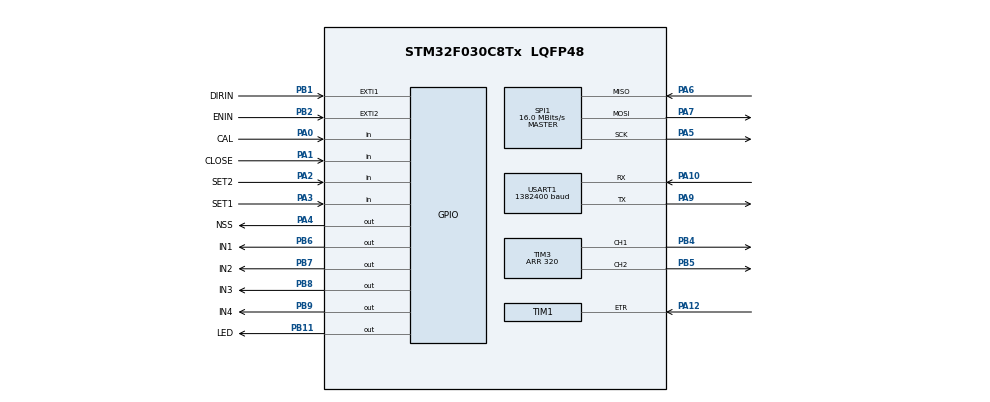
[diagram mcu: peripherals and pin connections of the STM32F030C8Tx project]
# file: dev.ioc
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Dma.Request0=USART1_RX
Dma.Request1=USART1_TX
Dma.USART1_RX.0.Direction=DMA_PERIPH_TO_MEMORY
Dma.USART1_RX.0.Instance=DMA1_Channel3
Dma.USART1_RX.0.MemDataAlignment=DMA_MDATAALIGN_BYTE
Dma.USART1_RX.0.MemInc=DMA_MINC_ENABLE
Dma.USART1_RX.0.Mode=DMA_NORMAL
Dma.USART1_RX.0.PeriphDataAlignment=DMA_PDATAALIGN_BYTE
Dma.USART1_RX.0.PeriphInc=DMA_PINC_DISABLE
Dma.USART1_RX.0.Priority=DMA_PRIORITY_LOW
Dma.USART1_TX.1.Direction=DMA_MEMORY_TO_PERIPH
Dma.USART1_TX.1.Instance=DMA1_Channel2
Dma.USART1_TX.1.MemDataAlignment=DMA_MDATAALIGN_BYTE
Dma.USART1_TX.1.MemInc=DMA_MINC_ENABLE
Dma.USART1_TX.1.Mode=DMA_NORMAL
Dma.USART1_TX.1.PeriphDataAlignment=DMA_PDATAALIGN_BYTE
Dma.USART1_TX.1.PeriphInc=DMA_PINC_DISABLE
Dma.USART1_TX.1.Priority=DMA_PRIORITY_LOW
IWDG.Reload=500
Mcu.Family=STM32F0
Mcu.Name=STM32F030C8Tx
Mcu.Package=LQFP48
NVIC.DMA1_Channel2_3_IRQn=true\:0\:0\:false\:false\:true\:false\:true
NVIC.EXTI0_1_IRQn=true\:0\:0\:false\:false\:true\:true\:true
NVIC.EXTI2_3_IRQn=true\:1\:0\:true\:false\:true\:true\:true
NVIC.TIM6_IRQn=true\:1\:0\:true\:false\:true\:true\:true
NVIC.USART1_IRQn=true\:0\:0\:false\:false\:true\:true\:true
PA0.GPIO_Label=CAL
PA0.GPIO_PuPd=GPIO_PULLUP
PA0.Signal=GPIO_Input
PA1.GPIO_Label=CLOSE
PA1.GPIO_PuPd=GPIO_PULLUP
PA1.Signal=GPIO_Input
PA10.Mode=Asynchronous
PA10.Signal=USART1_RX
PA12.GPIO_Speed=GPIO_SPEED_FREQ_HIGH
PA12.Signal=S_TIM1_ETR
PA13.Mode=Serial_Wire
PA13.Signal=SYS_SWDIO
PA14.Mode=Serial_Wire
PA14.Signal=SYS_SWCLK
PA2.GPIO_Label=SET2
PA2.GPIO_PuPd=GPIO_PULLUP
PA2.Signal=GPIO_Input
PA3.GPIO_Label=SET1
PA3.GPIO_PuPd=GPIO_PULLUP
PA3.Signal=GPIO_Input
PA4.GPIO_Label=NSS
PA4.GPIO_Speed=GPIO_SPEED_FREQ_HIGH
PA4.PinState=GPIO_PIN_SET
PA4.Signal=GPIO_Output
PA5.Mode=Full_Duplex_Master
PA5.Signal=SPI1_SCK
PA6.Mode=Full_Duplex_Master
PA6.Signal=SPI1_MISO
PA7.Mode=Full_Duplex_Master
PA7.Signal=SPI1_MOSI
PA9.Mode=Asynchronous
PA9.Signal=USART1_TX
PB1.GPIO_Label=DIRIN
PB1.GPIO_ModeDefaultEXTI=GPIO_MODE_IT_RISING_FALLING
PB1.Signal=GPXTI1
PB11.GPIO_Label=LED
PB11.GPIO_Speed=GPIO_SPEED_FREQ_HIGH
PB11.Signal=GPIO_Output
PB2.GPIO_Label=ENIN
PB2.GPIO_ModeDefaultEXTI=GPIO_MODE_IT_RISING_FALLING
PB2.GPIO_PuPd=GPIO_PULLUP
PB2.Signal=GPXTI2
PB4.GPIO_Speed=GPIO_SPEED_FREQ_HIGH
PB4.Signal=S_TIM3_CH1
PB5.GPIO_Speed=GPIO_SPEED_FREQ_HIGH
PB5.Signal=S_TIM3_CH2
PB6.GPIO_FM6=SYSCFG_CFGR1_I2C_FMP_PB6
PB6.GPIO_Label=IN1
PB6.GPIO_Speed=GPIO_SPEED_FREQ_HIGH
PB6.Signal=GPIO_Output
PB7.GPIO_FM7=SYSCFG_CFGR1_I2C_FMP_PB7
PB7.GPIO_Label=IN2
PB7.GPIO_Speed=GPIO_SPEED_FREQ_HIGH
PB7.Signal=GPIO_Output
PB8.GPIO_FM8=SYSCFG_CFGR1_I2C_FMP_PB8
PB8.GPIO_Label=IN3
PB8.GPIO_Speed=GPIO_SPEED_FREQ_HIGH
PB8.Signal=GPIO_Output
PB9.GPIO_FM9=SYSCFG_CFGR1_I2C_FMP_PB9
PB9.GPIO_Label=IN4
PB9.GPIO_Speed=GPIO_SPEED_FREQ_HIGH
PB9.Signal=GPIO_Output
ProjectManager.HeapSize=0x200
ProjectManager.StackSize=0x400
ProjectManager.TargetToolchain=MDK-ARM V5
RCC.AHBFreq_Value=64000000
RCC.APB1Freq_Value=64000000
RCC.APB1TimFreq_Value=64000000
RCC.HCLKFreq_Value=64000000
RCC.PLLMUL=RCC_PLL_MUL16
RCC.SYSCLKFreq_VALUE=64000000
RCC.SYSCLKSource=RCC_SYSCLKSOURCE_PLLCLK
SH.S_TIM1_ETR.0=TIM1_ETR,ClockSourceETR_Mode2
SH.S_TIM3_CH1.0=TIM3_CH1,PWM Generation1 CH1
SH.S_TIM3_CH2.0=TIM3_CH2,PWM Generation2 CH2
SPI1.BaudRatePrescaler=SPI_BAUDRATEPRESCALER_4
SPI1.CLKPhase=SPI_PHASE_2EDGE
SPI1.CLKPolarity=SPI_POLARITY_HIGH
SPI1.CalculateBaudRate=16.0 MBits/s
SPI1.DataSize=SPI_DATASIZE_16BIT
SPI1.Direction=SPI_DIRECTION_2LINES
SPI1.Mode=SPI_MODE_MASTER
SPI1.VirtualType=VM_MASTER
TIM1.ClockFilter=8
TIM1.Period=64999
TIM3.Channel-PWM\ Generation1\ CH1=TIM_CHANNEL_1
TIM3.Channel-PWM\ Generation2\ CH2=TIM_CHANNEL_2
TIM3.Period=320
TIM6.Period=3200
USART1.BaudRate=1382400
USART1.VirtualMode-Asynchronous=VM_ASYNC
VP_IWDG_VS_IWDG.Mode=IWDG_Activate
VP_TIM15_VS_ControllerModeClock.Mode=Clock Mode
VP_TIM3_VS_ClockSourceINT.Mode=Internal
VP_TIM6_VS_ClockSourceINT.Mode=Enable_Timer
board=ITEM

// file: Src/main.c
/* USER CODE BEGIN Header */
/**
  ******************************************************************************
  * @file           : main.c
  * @brief          : Main program body
  ******************************************************************************
  * @attention
  *
  * <h2><center>&copy; Copyright (c) 2021 STMicroelectronics.
  * All rights reserved.</center></h2>
  *
  * This software component is licensed by ST under BSD 3-Clause license,
  * the "License"; You may not use this file except in compliance with the
  * License. You may obtain a copy of the License at:
  *                        opensource.org/licenses/BSD-3-Clause
  *
  ******************************************************************************
  */
/* USER CODE END Header */
#include "main.h"

/* USER CODE BEGIN Includes */
#include <stdio.h>
#include "stm32f0xx_ll_usart.h"
#include "ringBuffer.h"

/* USER CODE END Includes */

TIM_HandleTypeDef htim1;

UART_HandleTypeDef huart1;
DMA_HandleTypeDef hdma_usart1_rx;
DMA_HandleTypeDef hdma_usart1_tx;

/* USER CODE BEGIN PV */
uint8_t RXBuffer[64];
int32_t s=0;//外部控制脉冲输入定时器的值
int32_t s_1=0;
int32_t s_sum=0;//外部控制脉冲输入累计值
int32_t r=0;//指令电机位置
int32_t r_1=0;
uint8_t dir=1;//电机旋转方向
int16_t y=0;//编码器的读数值
int16_t y_1=0;
int32_t yw=0;//实际电机位置值
int32_t yw_1=0;
int32_t advance=0;//电机控制提前角度
int32_t wrap_count=0;//电机旋转圈数
int32_t e=0;//误差值等于指令电机位置值减去实际电机位置值
int32_t iterm=0;//PID控制i积分项
int32_t dterm=0;//PID控制d微分项
int32_t u=0;//矢量控制电流大小
int32_t stepnumber=0;//电机走的整步步数
float stepangle=2.56f;//电子齿轮值

uint16_t hccount=0;//开环模式下半流控制计数值
uint8_t closemode;//开环闭环模式标志位
uint8_t enmode=1;//使能标志位

extern const int16_t sin_1[];
/* USER CODE END PV */

void SystemClock_Config(void);
static void MX_GPIO_Init(void);
static void MX_DMA_Init(void);
static void MX_SPI1_Init(void);
static void MX_TIM3_Init(void);
static void MX_TIM6_Init(void);
static void MX_IWDG_Init(void);
static void MX_TIM15_Init(void);
static void MX_USART1_UART_Init(void);
static void MX_TIM1_Init(void);
/* USER CODE BEGIN PFP */

void Output(int32_t theta,uint8_t effort);
int16_t Mod(int32_t xMod,int16_t mMod);
void OneStep(void);

/* USER CODE END PFP */

/* USER CODE BEGIN 0 */
//STDIO.H串口输出重载函数
int fputc(int c,FILE *stream)
{
  LL_USART_TransmitData8(USART1,c);
  while(!LL_USART_IsActiveFlag_TXE(USART1))__NOP();
  LL_USART_ClearFlag_TC(USART1);
  return c;
}
//读MT6816编码器的角度值
uint16_t ReadAngle()
{
  uint16_t data1,data2;
  NSS_L;
  while(LL_SPI_IsActiveFlag_TXE(SPI1)==0);
  LL_SPI_TransmitData16(SPI1,0x8355);
  while(LL_SPI_IsActiveFlag_RXNE(SPI1)==0);
  data1=LL_SPI_ReceiveData16(SPI1)&0x00FF;
  NSS_H;
  NSS_L;
  while(LL_SPI_IsActiveFlag_TXE(SPI1)==0);
  LL_SPI_TransmitData16(SPI1,0x84A0);
  while(LL_SPI_IsActiveFlag_RXNE(SPI1)==0);
  data2=LL_SPI_ReceiveData16(SPI1)&0x00FF;
  NSS_H;
  data1=(data1<<6)+(data2>>2);
  return data1;
}
void Output(int32_t theta,uint8_t effort)
{
  int16_t v_coil_A;
  int16_t v_coil_B;

  int16_t sin_coil_A;
  int16_t sin_coil_B;

  int16_t angle_1;
  int16_t angle_2;

  float phase_multiplier=12.5f;//电机跑一圈共50个电相位角/4

  angle_1=Mod(phase_multiplier*theta,4096);//编码器读出的机械角转换为电相位角
  angle_2=angle_1+1024;
  if(angle_2>4096)
    angle_2-=4096;

  sin_coil_A=sin_1[angle_1];
  sin_coil_B=sin_1[angle_2];

  v_coil_A=effort*sin_coil_A/1024;//电机A相的矢量分解电流
  v_coil_B=effort*sin_coil_B/1024;//电机B相的矢量分解电流

  if(v_coil_A>=0)
  {
    LL_TIM_OC_SetCompareCH2(TIM3,v_coil_A);
	IN1_HIGH;
    IN2_LOW;
  }
  else
  {
    LL_TIM_OC_SetCompareCH2(TIM3,-v_coil_A);
	IN1_LOW;
    IN2_HIGH;
  }
  if(v_coil_B>=0)
  {
    LL_TIM_OC_SetCompareCH1(TIM3,v_coil_B);
	IN3_HIGH;
    IN4_LOW;
  }
  else
  {
    LL_TIM_OC_SetCompareCH1(TIM3,-v_coil_B);
	IN3_LOW;
    IN4_HIGH;
  }
}
//电机走一整步1.8度函数
void OneStep(void)
{
  if(dir)
    stepnumber+=1;
  else
    stepnumber-=1;

  Output(81.92f*stepnumber,50);//如果校正时电机太大把80的设置电机加到120左右或者更大些
  LL_mDelay(10);
}
//求模函数
int16_t Mod(int32_t xMod,int16_t mMod)
{
  int16_t temp;
  temp=xMod%mMod;
  if(temp<0)
    return (temp+mMod);
  else
	return  temp;
}

void SetModeCheck(void)
{
  y=*(volatile uint16_t*)(ReadAngle()*2+0x08008000);
//  if(CAL==0)//校正拨码开关ON进入编码器芯片校正程序
//	CalibrateEncoder();

  if((SET1==1)&&(SET2==1))//电子齿轮设置
    stepangle=20.48f;//电机跑一圈需要的控制脉冲数为800
  else if((SET1==0)&&(SET2==1))
    stepangle=10.24f;//电机跑一圈需要的控制脉冲数为1600
  else if((SET1==1)&&(SET2==0))
    stepangle=5.12f;//电机跑一圈需要的控制脉冲数为3200
  else
    stepangle=2.56f;//电机跑一圈需要的控制脉冲数为6400

	if(CLOSE==0)
    closemode=1;
  else
	  closemode=0;

  if(DIRIN==1)
    LL_TIM_SetCounterMode(TIM1,LL_TIM_COUNTERMODE_UP);
  else
	LL_TIM_SetCounterMode(TIM1,LL_TIM_COUNTERMODE_DOWN);
}
/* USER CODE END 0 */

int main(void)
{

  /* MCU Configuration--------------------------------------------------------*/

  /* Reset of all peripherals, Initializes the Flash interface and the Systick. */
  HAL_Init();

  /* Configure the system clock */
  SystemClock_Config();

  /* Initialize all configured peripherals */
  MX_GPIO_Init();
  MX_DMA_Init();
  MX_SPI1_Init();
  MX_TIM3_Init();
  MX_TIM6_Init();
  MX_IWDG_Init();
  MX_TIM15_Init();
  MX_USART1_UART_Init();
  MX_TIM1_Init();

  /* Infinite loop */
  while (1)
  {

    /* USER CODE BEGIN 3 */
//		HAL_UART_Receive_DMA(&huart1, RXBuffer, 3);
		FlushBuffer();
  }
  /* USER CODE END 3 */
}

void SystemClock_Config(void)
{
  LL_FLASH_SetLatency(LL_FLASH_LATENCY_1);
  while(LL_FLASH_GetLatency() != LL_FLASH_LATENCY_1)
  {
  }
  LL_RCC_HSI_Enable();

   /* Wait till HSI is ready */
  while(LL_RCC_HSI_IsReady() != 1)
  {

  }
  LL_RCC_HSI_SetCalibTrimming(16);
  LL_RCC_LSI_Enable();

   /* Wait till LSI is ready */
  while(LL_RCC_LSI_IsReady() != 1)
  {

  }
  LL_RCC_PLL_ConfigDomain_SYS(LL_RCC_PLLSOURCE_HSI_DIV_2, LL_RCC_PLL_MUL_16);
  LL_RCC_PLL_Enable();

   /* Wait till PLL is ready */
  while(LL_RCC_PLL_IsReady() != 1)
  {

  }
  LL_RCC_SetAHBPrescaler(LL_RCC_SYSCLK_DIV_1);
  LL_RCC_SetAPB1Prescaler(LL_RCC_APB1_DIV_1);
  LL_RCC_SetSysClkSource(LL_RCC_SYS_CLKSOURCE_PLL);

   /* Wait till System clock is ready */
  while(LL_RCC_GetSysClkSource() != LL_RCC_SYS_CLKSOURCE_STATUS_PLL)
  {

  }
  LL_SetSystemCoreClock(64000000);

   /* Update the time base */
  if (HAL_InitTick (TICK_INT_PRIORITY) != HAL_OK)
  {
    Error_Handler();
  }
  LL_RCC_SetUSARTClockSource(LL_RCC_USART1_CLKSOURCE_PCLK1);
}

static void MX_IWDG_Init(void)
{

  LL_IWDG_Enable(IWDG);
  LL_IWDG_EnableWriteAccess(IWDG);
  LL_IWDG_SetPrescaler(IWDG, LL_IWDG_PRESCALER_4);
  LL_IWDG_SetReloadCounter(IWDG, 500);
  while (LL_IWDG_IsReady(IWDG) != 1)
  {
  }

  LL_IWDG_ReloadCounter(IWDG);

}

static void MX_SPI1_Init(void)
{

  LL_SPI_InitTypeDef SPI_InitStruct = {0};

  LL_GPIO_InitTypeDef GPIO_InitStruct = {0};

  /* Peripheral clock enable */
  LL_APB1_GRP2_EnableClock(LL_APB1_GRP2_PERIPH_SPI1);

  LL_AHB1_GRP1_EnableClock(LL_AHB1_GRP1_PERIPH_GPIOA);
  /**SPI1 GPIO Configuration
  PA5   ------> SPI1_SCK
  PA6   ------> SPI1_MISO
  PA7   ------> SPI1_MOSI
  */
  GPIO_InitStruct.Pin = LL_GPIO_PIN_5;
  GPIO_InitStruct.Mode = LL_GPIO_MODE_ALTERNATE;
  GPIO_InitStruct.Speed = LL_GPIO_SPEED_FREQ_HIGH;
  GPIO_InitStruct.OutputType = LL_GPIO_OUTPUT_PUSHPULL;
  GPIO_InitStruct.Pull = LL_GPIO_PULL_NO;
  GPIO_InitStruct.Alternate = LL_GPIO_AF_0;
  LL_GPIO_Init(GPIOA, &GPIO_InitStruct);

  GPIO_InitStruct.Pin = LL_GPIO_PIN_6;
  GPIO_InitStruct.Mode = LL_GPIO_MODE_ALTERNATE;
  GPIO_InitStruct.Speed = LL_GPIO_SPEED_FREQ_HIGH;
  GPIO_InitStruct.OutputType = LL_GPIO_OUTPUT_PUSHPULL;
  GPIO_InitStruct.Pull = LL_GPIO_PULL_NO;
  GPIO_InitStruct.Alternate = LL_GPIO_AF_0;
  LL_GPIO_Init(GPIOA, &GPIO_InitStruct);

  GPIO_InitStruct.Pin = LL_GPIO_PIN_7;
  GPIO_InitStruct.Mode = LL_GPIO_MODE_ALTERNATE;
  GPIO_InitStruct.Speed = LL_GPIO_SPEED_FREQ_HIGH;
  GPIO_InitStruct.OutputType = LL_GPIO_OUTPUT_PUSHPULL;
  GPIO_InitStruct.Pull = LL_GPIO_PULL_NO;
  GPIO_InitStruct.Alternate = LL_GPIO_AF_0;
  LL_GPIO_Init(GPIOA, &GPIO_InitStruct);

  /* SPI1 parameter configuration*/
  SPI_InitStruct.TransferDirection = LL_SPI_FULL_DUPLEX;
  SPI_InitStruct.Mode = LL_SPI_MODE_MASTER;
  SPI_InitStruct.DataWidth = LL_SPI_DATAWIDTH_16BIT;
  SPI_InitStruct.ClockPolarity = LL_SPI_POLARITY_HIGH;
  SPI_InitStruct.ClockPhase = LL_SPI_PHASE_2EDGE;
  SPI_InitStruct.NSS = LL_SPI_NSS_SOFT;
  SPI_InitStruct.BaudRate = LL_SPI_BAUDRATEPRESCALER_DIV4;
  SPI_InitStruct.BitOrder = LL_SPI_MSB_FIRST;
  SPI_InitStruct.CRCCalculation = LL_SPI_CRCCALCULATION_DISABLE;
  SPI_InitStruct.CRCPoly = 7;
  LL_SPI_Init(SPI1, &SPI_InitStruct);
  LL_SPI_SetStandard(SPI1, LL_SPI_PROTOCOL_MOTOROLA);
  LL_SPI_DisableNSSPulseMgt(SPI1);

}

static void MX_TIM1_Init(void)
{

  TIM_ClockConfigTypeDef sClockSourceConfig = {0};
  TIM_MasterConfigTypeDef sMasterConfig = {0};

  htim1.Instance = TIM1;
  htim1.Init.Prescaler = 0;
  htim1.Init.CounterMode = TIM_COUNTERMODE_UP;
  htim1.Init.Period = 64999;
  htim1.Init.ClockDivision = TIM_CLOCKDIVISION_DIV1;
  htim1.Init.RepetitionCounter = 0;
  htim1.Init.AutoReloadPreload = TIM_AUTORELOAD_PRELOAD_DISABLE;
  if (HAL_TIM_Base_Init(&htim1) != HAL_OK)
  {
    Error_Handler();
  }
  sClockSourceConfig.ClockSource = TIM_CLOCKSOURCE_ETRMODE2;
  sClockSourceConfig.ClockPolarity = TIM_CLOCKPOLARITY_NONINVERTED;
  sClockSourceConfig.ClockPrescaler = TIM_CLOCKPRESCALER_DIV1;
  sClockSourceConfig.ClockFilter = 8;
  if (HAL_TIM_ConfigClockSource(&htim1, &sClockSourceConfig) != HAL_OK)
  {
    Error_Handler();
  }
  sMasterConfig.MasterOutputTrigger = TIM_TRGO_RESET;
  sMasterConfig.MasterSlaveMode = TIM_MASTERSLAVEMODE_DISABLE;
  if (HAL_TIMEx_MasterConfigSynchronization(&htim1, &sMasterConfig) != HAL_OK)
  {
    Error_Handler();
  }
  /* USER CODE BEGIN TIM1_Init 2 */
  LL_TIM_SetCounter(TIM1,0);
  LL_TIM_EnableCounter(TIM1);
  /* USER CODE END TIM1_Init 2 */

}

static void MX_TIM3_Init(void)
{

  LL_TIM_InitTypeDef TIM_InitStruct = {0};
  LL_TIM_OC_InitTypeDef TIM_OC_InitStruct = {0};

  LL_GPIO_InitTypeDef GPIO_InitStruct = {0};

  /* Peripheral clock enable */
  LL_APB1_GRP1_EnableClock(LL_APB1_GRP1_PERIPH_TIM3);

  TIM_InitStruct.Prescaler = 0;
  TIM_InitStruct.CounterMode = LL_TIM_COUNTERMODE_UP;
  TIM_InitStruct.Autoreload = 320;
  TIM_InitStruct.ClockDivision = LL_TIM_CLOCKDIVISION_DIV1;
  LL_TIM_Init(TIM3, &TIM_InitStruct);
  LL_TIM_DisableARRPreload(TIM3);
  LL_TIM_SetClockSource(TIM3, LL_TIM_CLOCKSOURCE_INTERNAL);
  LL_TIM_OC_EnablePreload(TIM3, LL_TIM_CHANNEL_CH1);
  TIM_OC_InitStruct.OCMode = LL_TIM_OCMODE_PWM1;
  TIM_OC_InitStruct.OCState = LL_TIM_OCSTATE_DISABLE;
  TIM_OC_InitStruct.OCNState = LL_TIM_OCSTATE_DISABLE;
  TIM_OC_InitStruct.CompareValue = 0;
  TIM_OC_InitStruct.OCPolarity = LL_TIM_OCPOLARITY_HIGH;
  LL_TIM_OC_Init(TIM3, LL_TIM_CHANNEL_CH1, &TIM_OC_InitStruct);
  LL_TIM_OC_DisableFast(TIM3, LL_TIM_CHANNEL_CH1);
  LL_TIM_OC_EnablePreload(TIM3, LL_TIM_CHANNEL_CH2);
  TIM_OC_InitStruct.OCState = LL_TIM_OCSTATE_DISABLE;
  TIM_OC_InitStruct.OCNState = LL_TIM_OCSTATE_DISABLE;
  LL_TIM_OC_Init(TIM3, LL_TIM_CHANNEL_CH2, &TIM_OC_InitStruct);
  LL_TIM_OC_DisableFast(TIM3, LL_TIM_CHANNEL_CH2);
  LL_TIM_SetTriggerOutput(TIM3, LL_TIM_TRGO_RESET);
  LL_TIM_DisableMasterSlaveMode(TIM3);
  LL_AHB1_GRP1_EnableClock(LL_AHB1_GRP1_PERIPH_GPIOB);
  /**TIM3 GPIO Configuration
  PB4   ------> TIM3_CH1
  PB5   ------> TIM3_CH2
  */
  GPIO_InitStruct.Pin = LL_GPIO_PIN_4;
  GPIO_InitStruct.Mode = LL_GPIO_MODE_ALTERNATE;
  GPIO_InitStruct.Speed = LL_GPIO_SPEED_FREQ_HIGH;
  GPIO_InitStruct.OutputType = LL_GPIO_OUTPUT_PUSHPULL;
  GPIO_InitStruct.Pull = LL_GPIO_PULL_NO;
  GPIO_InitStruct.Alternate = LL_GPIO_AF_1;
  LL_GPIO_Init(GPIOB, &GPIO_InitStruct);

  GPIO_InitStruct.Pin = LL_GPIO_PIN_5;
  GPIO_InitStruct.Mode = LL_GPIO_MODE_ALTERNATE;
  GPIO_InitStruct.Speed = LL_GPIO_SPEED_FREQ_HIGH;
  GPIO_InitStruct.OutputType = LL_GPIO_OUTPUT_PUSHPULL;
  GPIO_InitStruct.Pull = LL_GPIO_PULL_NO;
  GPIO_InitStruct.Alternate = LL_GPIO_AF_1;
  LL_GPIO_Init(GPIOB, &GPIO_InitStruct);

}

static void MX_TIM6_Init(void)
{

  LL_TIM_InitTypeDef TIM_InitStruct = {0};

  /* Peripheral clock enable */
  LL_APB1_GRP1_EnableClock(LL_APB1_GRP1_PERIPH_TIM6);

  /* TIM6 interrupt Init */
  NVIC_SetPriority(TIM6_IRQn, 1);
  NVIC_EnableIRQ(TIM6_IRQn);

  TIM_InitStruct.Prescaler = 0;
  TIM_InitStruct.CounterMode = LL_TIM_COUNTERMODE_UP;
  TIM_InitStruct.Autoreload = 3200;
  LL_TIM_Init(TIM6, &TIM_InitStruct);
  LL_TIM_DisableARRPreload(TIM6);
  /* USER CODE BEGIN TIM6_Init 2 */
  LL_TIM_EnableIT_UPDATE(TIM6);
  LL_TIM_EnableCounter(TIM6);
  /* USER CODE END TIM6_Init 2 */

}

static void MX_TIM15_Init(void)
{

}

static void MX_USART1_UART_Init(void)
{

  huart1.Instance = USART1;
  huart1.Init.BaudRate = 921600;
  huart1.Init.WordLength = UART_WORDLENGTH_8B;
  huart1.Init.StopBits = UART_STOPBITS_1;
  huart1.Init.Parity = UART_PARITY_NONE;
  huart1.Init.Mode = UART_MODE_TX_RX;
  huart1.Init.HwFlowCtl = UART_HWCONTROL_NONE;
  huart1.Init.OverSampling = UART_OVERSAMPLING_16;
  huart1.Init.OneBitSampling = UART_ONE_BIT_SAMPLE_DISABLE;
  huart1.AdvancedInit.AdvFeatureInit = UART_ADVFEATURE_NO_INIT;
  if (HAL_UART_Init(&huart1) != HAL_OK)
  {
    Error_Handler();
  }

}

static void MX_DMA_Init(void)
{

  /* DMA controller clock enable */
  __HAL_RCC_DMA1_CLK_ENABLE();

  /* DMA interrupt init */
  /* DMA1_Channel2_3_IRQn interrupt configuration */
  HAL_NVIC_SetPriority(DMA1_Channel2_3_IRQn, 0, 0);
  HAL_NVIC_EnableIRQ(DMA1_Channel2_3_IRQn);

}

static void MX_GPIO_Init(void)
{
  LL_EXTI_InitTypeDef EXTI_InitStruct = {0};
  LL_GPIO_InitTypeDef GPIO_InitStruct = {0};

  /* GPIO Ports Clock Enable */
  LL_AHB1_GRP1_EnableClock(LL_AHB1_GRP1_PERIPH_GPIOA);
  LL_AHB1_GRP1_EnableClock(LL_AHB1_GRP1_PERIPH_GPIOB);

  /**/
  LL_GPIO_SetOutputPin(NSS_GPIO_Port, NSS_Pin);

  /**/
  LL_GPIO_ResetOutputPin(LED_GPIO_Port, LED_Pin);

  /**/
  LL_GPIO_ResetOutputPin(IN1_GPIO_Port, IN1_Pin);

  /**/
  LL_GPIO_ResetOutputPin(IN2_GPIO_Port, IN2_Pin);

  /**/
  LL_GPIO_ResetOutputPin(IN3_GPIO_Port, IN3_Pin);

  /**/
  LL_GPIO_ResetOutputPin(IN4_GPIO_Port, IN4_Pin);

  /**/
  GPIO_InitStruct.Pin = CAL_Pin;
  GPIO_InitStruct.Mode = LL_GPIO_MODE_INPUT;
  GPIO_InitStruct.Pull = LL_GPIO_PULL_UP;
  LL_GPIO_Init(CAL_GPIO_Port, &GPIO_InitStruct);

  /**/
  GPIO_InitStruct.Pin = CLOSE_Pin;
  GPIO_InitStruct.Mode = LL_GPIO_MODE_INPUT;
  GPIO_InitStruct.Pull = LL_GPIO_PULL_UP;
  LL_GPIO_Init(CLOSE_GPIO_Port, &GPIO_InitStruct);

  /**/
  GPIO_InitStruct.Pin = SET2_Pin;
  GPIO_InitStruct.Mode = LL_GPIO_MODE_INPUT;
  GPIO_InitStruct.Pull = LL_GPIO_PULL_UP;
  LL_GPIO_Init(SET2_GPIO_Port, &GPIO_InitStruct);

  /**/
  GPIO_InitStruct.Pin = SET1_Pin;
  GPIO_InitStruct.Mode = LL_GPIO_MODE_INPUT;
  GPIO_InitStruct.Pull = LL_GPIO_PULL_UP;
  LL_GPIO_Init(SET1_GPIO_Port, &GPIO_InitStruct);

  /**/
  GPIO_InitStruct.Pin = NSS_Pin;
  GPIO_InitStruct.Mode = LL_GPIO_MODE_OUTPUT;
  GPIO_InitStruct.Speed = LL_GPIO_SPEED_FREQ_HIGH;
  GPIO_InitStruct.OutputType = LL_GPIO_OUTPUT_PUSHPULL;
  GPIO_InitStruct.Pull = LL_GPIO_PULL_NO;
  LL_GPIO_Init(NSS_GPIO_Port, &GPIO_InitStruct);

  /**/
  GPIO_InitStruct.Pin = LED_Pin;
  GPIO_InitStruct.Mode = LL_GPIO_MODE_OUTPUT;
  GPIO_InitStruct.Speed = LL_GPIO_SPEED_FREQ_HIGH;
  GPIO_InitStruct.OutputType = LL_GPIO_OUTPUT_PUSHPULL;
  GPIO_InitStruct.Pull = LL_GPIO_PULL_NO;
  LL_GPIO_Init(LED_GPIO_Port, &GPIO_InitStruct);

  /**/
  GPIO_InitStruct.Pin = IN1_Pin;
  GPIO_InitStruct.Mode = LL_GPIO_MODE_OUTPUT;
  GPIO_InitStruct.Speed = LL_GPIO_SPEED_FREQ_HIGH;
  GPIO_InitStruct.OutputType = LL_GPIO_OUTPUT_PUSHPULL;
  GPIO_InitStruct.Pull = LL_GPIO_PULL_NO;
  LL_GPIO_Init(IN1_GPIO_Port, &GPIO_InitStruct);

  /**/
  GPIO_InitStruct.Pin = IN2_Pin;
  GPIO_InitStruct.Mode = LL_GPIO_MODE_OUTPUT;
  GPIO_InitStruct.Speed = LL_GPIO_SPEED_FREQ_HIGH;
  GPIO_InitStruct.OutputType = LL_GPIO_OUTPUT_PUSHPULL;
  GPIO_InitStruct.Pull = LL_GPIO_PULL_NO;
  LL_GPIO_Init(IN2_GPIO_Port, &GPIO_InitStruct);

  /**/
  GPIO_InitStruct.Pin = IN3_Pin;
  GPIO_InitStruct.Mode = LL_GPIO_MODE_OUTPUT;
  GPIO_InitStruct.Speed = LL_GPIO_SPEED_FREQ_HIGH;
  GPIO_InitStruct.OutputType = LL_GPIO_OUTPUT_PUSHPULL;
  GPIO_InitStruct.Pull = LL_GPIO_PULL_NO;
  LL_GPIO_Init(IN3_GPIO_Port, &GPIO_InitStruct);

  /**/
  GPIO_InitStruct.Pin = IN4_Pin;
  GPIO_InitStruct.Mode = LL_GPIO_MODE_OUTPUT;
  GPIO_InitStruct.Speed = LL_GPIO_SPEED_FREQ_HIGH;
  GPIO_InitStruct.OutputType = LL_GPIO_OUTPUT_PUSHPULL;
  GPIO_InitStruct.Pull = LL_GPIO_PULL_NO;
  LL_GPIO_Init(IN4_GPIO_Port, &GPIO_InitStruct);

  /**/
  LL_SYSCFG_SetEXTISource(LL_SYSCFG_EXTI_PORTB, LL_SYSCFG_EXTI_LINE1);

  /**/
  LL_SYSCFG_SetEXTISource(LL_SYSCFG_EXTI_PORTB, LL_SYSCFG_EXTI_LINE2);

  /**/
  LL_GPIO_SetPinPull(DIRIN_GPIO_Port, DIRIN_Pin, LL_GPIO_PULL_NO);

  /**/
  LL_GPIO_SetPinPull(ENIN_GPIO_Port, ENIN_Pin, LL_GPIO_PULL_UP);

  /**/
  LL_GPIO_SetPinMode(DIRIN_GPIO_Port, DIRIN_Pin, LL_GPIO_MODE_INPUT);

  /**/
  LL_GPIO_SetPinMode(ENIN_GPIO_Port, ENIN_Pin, LL_GPIO_MODE_INPUT);

  /**/
  EXTI_InitStruct.Line_0_31 = LL_EXTI_LINE_1;
  EXTI_InitStruct.LineCommand = ENABLE;
  EXTI_InitStruct.Mode = LL_EXTI_MODE_IT;
  EXTI_InitStruct.Trigger = LL_EXTI_TRIGGER_RISING_FALLING;
  LL_EXTI_Init(&EXTI_InitStruct);

  /**/
  EXTI_InitStruct.Line_0_31 = LL_EXTI_LINE_2;
  EXTI_InitStruct.LineCommand = ENABLE;
  EXTI_InitStruct.Mode = LL_EXTI_MODE_IT;
  EXTI_InitStruct.Trigger = LL_EXTI_TRIGGER_RISING_FALLING;
  LL_EXTI_Init(&EXTI_InitStruct);

  /**/
  LL_SYSCFG_EnableFastModePlus(SYSCFG_CFGR1_I2C_FMP_PB6);

  /**/
  LL_SYSCFG_EnableFastModePlus(SYSCFG_CFGR1_I2C_FMP_PB7);

  /**/
  LL_SYSCFG_EnableFastModePlus(SYSCFG_CFGR1_I2C_FMP_PB8);

  /**/
  LL_SYSCFG_EnableFastModePlus(SYSCFG_CFGR1_I2C_FMP_PB9);

  /* EXTI interrupt init*/
  NVIC_SetPriority(EXTI0_1_IRQn, 0);
  NVIC_EnableIRQ(EXTI0_1_IRQn);
  NVIC_SetPriority(EXTI2_3_IRQn, 1);
  NVIC_EnableIRQ(EXTI2_3_IRQn);

}

void Error_Handler(void)
{
  __disable_irq();
  while (1)
  {
  }
}

/************************ (C) COPYRIGHT STMicroelectronics *****END OF FILE****/
